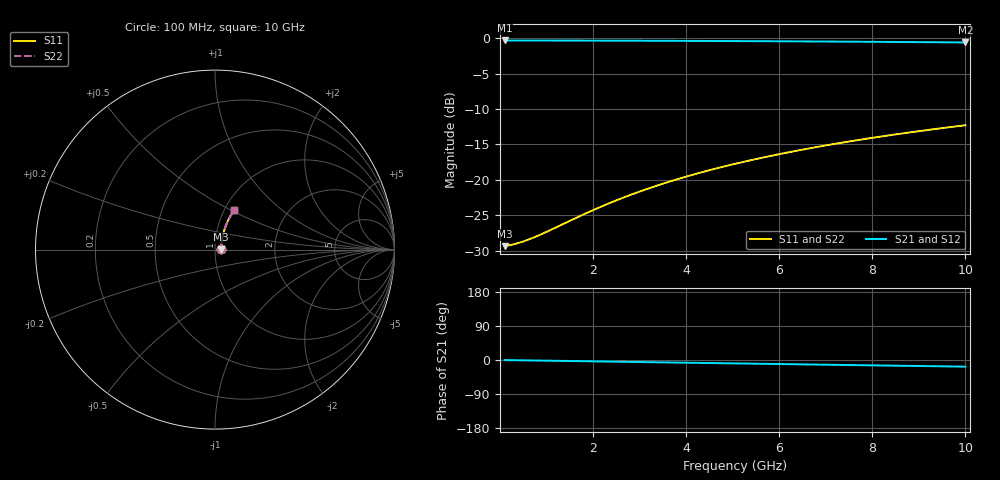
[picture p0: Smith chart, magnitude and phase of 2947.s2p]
# Hz S RI R 50.00
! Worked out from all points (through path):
!   100 points, 100 MHz to 10 GHz, reference 50 ohm
!   highest |S21| = -0.30 dB at 100 MHz (marker M1); lowest = -0.6 dB at 10 GHz (marker M2)
!   group delay of S21, straight-line fit = 4.88 ps
!   lowest |S11| = -29.4 dB at 100 MHz (marker M3), VSWR 1.07, Z = 53.5 + j0.256 ohm
!   |S11| at or under -10 dB: start of sweep to end of sweep
!   |S22| runs from -29.4 to -12.3 dB; largest |S21 - S12| = 0
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1e8  0.0339 0.00239  0.9661 -0.00302  0.9661 -0.00302  0.0339 0.00239
3e8  0.0343 0.00717  0.9657 -0.00905  0.9657 -0.00905  0.0343 0.00717
4e8  0.0345 0.00955  0.9655 -0.0121  0.9655 -0.0121  0.0345 0.00955
5e8  0.0347 0.0119  0.9653 -0.0151  0.9653 -0.0151  0.0347 0.0119
7e8  0.035 0.0167  0.965 -0.0211  0.965 -0.0211  0.035 0.0167
1e9  0.0356 0.0238  0.9643 -0.0301  0.9643 -0.0301  0.0356 0.0238
1.8e9  0.0377 0.0428  0.9622 -0.0541  0.9622 -0.0541  0.0377 0.0428
2.2e9  0.039 0.0522  0.9609 -0.066  0.9609 -0.066  0.039 0.0522
2.6e9  0.0406 0.0616  0.9593 -0.0779  0.9593 -0.0779  0.0406 0.0616
3e9  0.0423 0.0709  0.9575 -0.0898  0.9575 -0.0898  0.0423 0.0709
3.4e9  0.0443 0.0801  0.9554 -0.1015  0.9554 -0.1015  0.0443 0.0801
3.8e9  0.0465 0.0893  0.9531 -0.1132  0.9531 -0.1132  0.0465 0.0893
4.2e9  0.049 0.0984  0.9507 -0.1249  0.9507 -0.1249  0.049 0.0984
4.6e9  0.0516 0.1075  0.948 -0.1364  0.948 -0.1364  0.0516 0.1075
5.1e9  0.0552 0.1187  0.9443 -0.1508  0.9443 -0.1508  0.0552 0.1187
5.5e9  0.0583 0.1275  0.9411 -0.1621  0.9411 -0.1621  0.0583 0.1275
5.9e9  0.0616 0.1362  0.9377 -0.1734  0.9377 -0.1734  0.0616 0.1362
6.7e9  0.0688 0.1534  0.9302 -0.1956  0.9302 -0.1956  0.0688 0.1534
7.5e9  0.0768 0.17  0.922 -0.2173  0.922 -0.2173  0.0768 0.17
8.4e9  0.0867 0.1881  0.9118 -0.2411  0.9118 -0.2411  0.0867 0.1881
9.2e9  0.0962 0.2036  0.902 -0.2617  0.902 -0.2617  0.0962 0.2036
1e10  0.1064 0.2186  0.8916 -0.2817  0.8916 -0.2817  0.1064 0.2186
